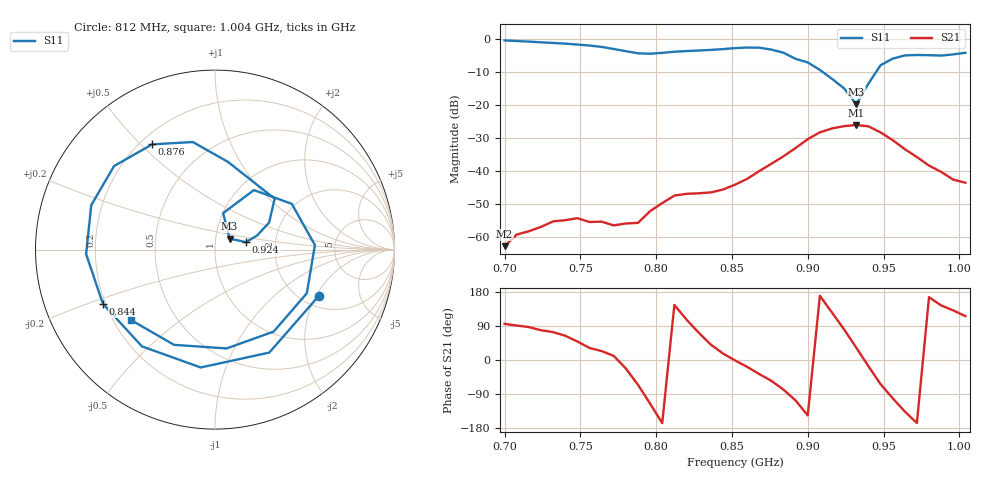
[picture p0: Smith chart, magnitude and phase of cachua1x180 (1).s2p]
# Hz S RI R 50
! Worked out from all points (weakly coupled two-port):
!   39 points, 700 MHz to 1.004 GHz, reference 50 ohm
!   highest |S21| = -26.09 dB at 932 MHz (marker M1); lowest = -62.7 dB at 700 MHz (marker M2)
!   lowest |S11| = -19.8 dB at 932 MHz (marker M3), VSWR 1.23, Z = 58.4 + j7.22 ohm
!   |S11| at or under -10 dB: 909.6 MHz to 945.2 MHz (35.58 MHz wide, 3.84 % of centre)
!   S12 and S22 are empty: the file has one direction only
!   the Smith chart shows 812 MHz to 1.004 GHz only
!   S11 on the Smith chart (normalised r, x): 812 MHz: 2.45, -2.11; 844 MHz: 0.19, -0.22; 876 MHz: 0.25, +0.54; 924 MHz: 1.41, +0.12; 1.004 GHz: 0.27, -0.34
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7e8  0.7579 0.5524  -6.94e-05 0.000732  0 0  0 0
7.24e8  0.843 -0.248  0.000286 0.00141  0 0  0 0
7.4e8  0.4588 -0.703  0.000795 0.00163  0 0  0 0
7.56e8  -0.1906 -0.7619  0.00145 0.000897  0 0  0 0
7.72e8  -0.6645 -0.2092  0.00149 0.000284  0 0  0 0
7.8e8  -0.6084 0.2178  0.0015 -0.000618  0 0  0 0
7.88e8  -0.2714 0.5356  0.000687 -0.0015  0 0  0 0
7.96e8  0.2224 0.547  -0.00106 -0.00225  0 0  0 0
8.04e8  0.5719 0.2096  -0.0032 -0.000766  0 0  0 0
8.12e8  0.5786 -0.258  -0.00351 0.00242  0 0  0 0
8.28e8  -0.0794 -0.6567  0.00141 0.0044  0 0  0 0
8.44e8  -0.6247 -0.3016  0.00502 0.00157  0 0  0 0
8.52e8  -0.718 -0.0247  0.00623 -0.000118  0 0  0 0
8.76e8  -0.3501 0.5864  0.00738 -0.0106  0 0  0 0
9e8  0.3324 0.2838  -0.0252 -0.0169  0 0  0 0
9.08e8  0.3014 0.1502  -0.0378 0.00704  0 0  0 0
9.24e8  0.1722 0.0416  0.00776 0.0471  0 0  0 0
9.32e8  0.0815 0.0611  0.0418 0.0268  0 0  0 0
9.56e8  0.428 0.2549  -0.00548 -0.0288  0 0  0 0
9.64e8  0.5566 0.0252  -0.0154 -0.0149  0 0  0 0
9.8e8  0.3269 -0.4568  -0.0117 0.00297  0 0  0 0
1.004e9  -0.4672 -0.3928  -0.0029 0.00601  0 0  0 0
